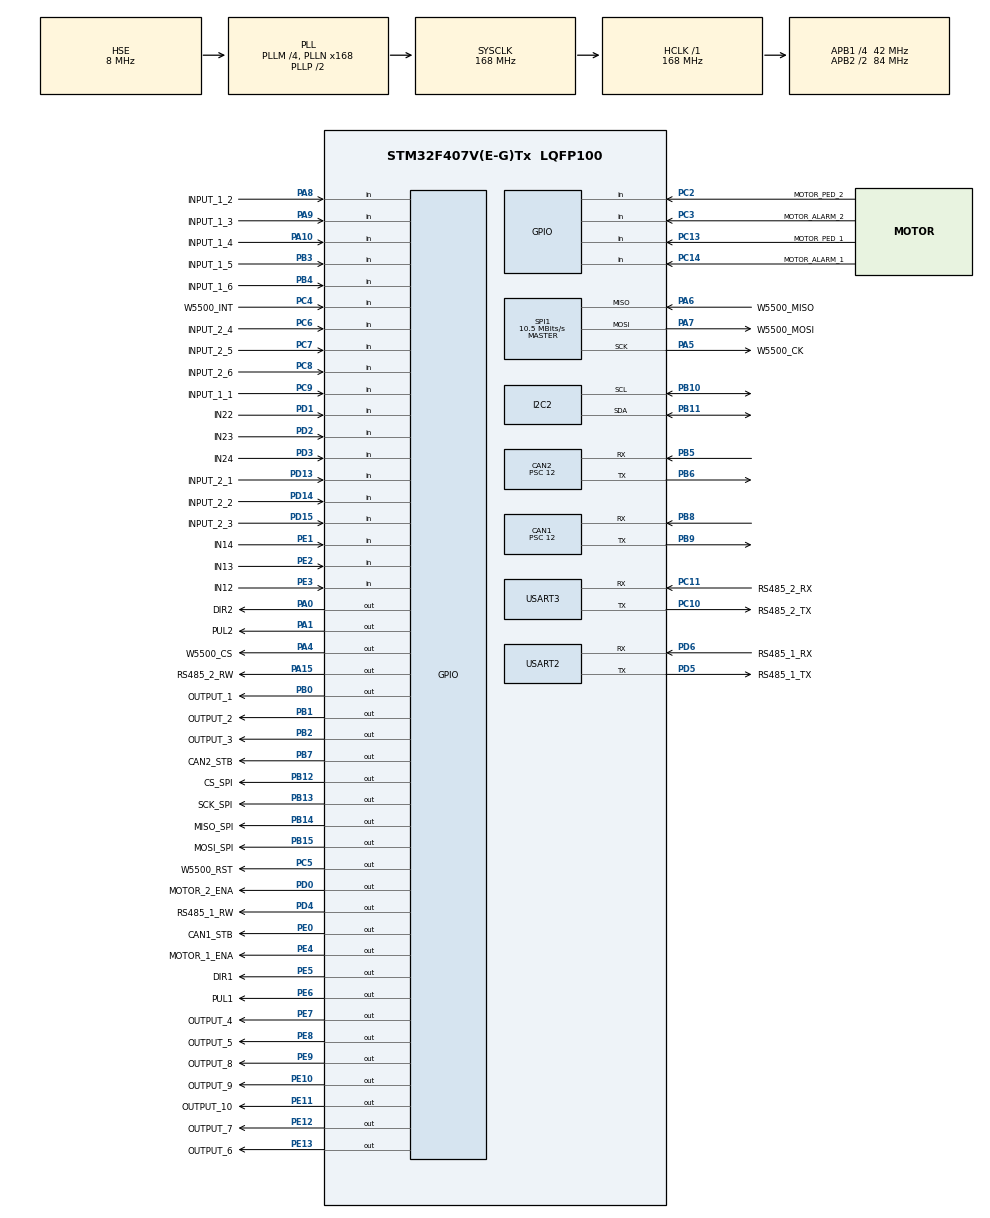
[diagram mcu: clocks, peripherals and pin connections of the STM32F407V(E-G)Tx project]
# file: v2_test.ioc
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CAN1.BS1=CAN_BS1_3TQ
CAN1.BS2=CAN_BS2_3TQ
CAN1.CalculateBaudRate=500000
CAN1.CalculateTimeBit=2000
CAN1.CalculateTimeQuantum=285.7142857142857
CAN1.Mode=CAN_MODE_NORMAL
CAN1.Prescaler=12
CAN2.BS1=CAN_BS1_3TQ
CAN2.BS2=CAN_BS2_3TQ
CAN2.CalculateBaudRate=500000
CAN2.CalculateTimeBit=2000
CAN2.CalculateTimeQuantum=285.7142857142857
CAN2.Mode=CAN_MODE_NORMAL
CAN2.Prescaler=12
Mcu.Family=STM32F4
Mcu.Name=STM32F407V(E-G)Tx
Mcu.Package=LQFP100
NVIC.CAN1_RX0_IRQn=true\:1\:0\:true\:false\:true\:true\:true\:true
NVIC.CAN1_RX1_IRQn=true\:1\:0\:true\:false\:true\:true\:true\:true
NVIC.CAN2_RX0_IRQn=true\:1\:0\:true\:false\:true\:true\:true\:true
NVIC.CAN2_RX1_IRQn=true\:1\:0\:true\:false\:true\:true\:true\:true
NVIC.I2C2_EV_IRQn=true\:1\:0\:true\:false\:true\:true\:true\:true
NVIC.PriorityGroup=NVIC_PRIORITYGROUP_4
NVIC.SPI1_IRQn=true\:1\:0\:true\:false\:true\:true\:true\:true
NVIC.TIM2_IRQn=true\:1\:0\:true\:false\:true\:true\:true\:true
NVIC.TIM4_IRQn=true\:0\:0\:false\:false\:true\:true\:true\:true
NVIC.USART2_IRQn=true\:1\:0\:true\:false\:true\:true\:true\:true
NVIC.USART3_IRQn=true\:1\:0\:true\:false\:true\:true\:true\:true
PA0-WKUP.GPIO_Label=DIR2
PA0-WKUP.Signal=GPIO_Output
PA1.GPIO_Label=PUL2
PA1.Signal=GPIO_Output
PA10.GPIO_Label=INPUT_1_4
PA10.GPIO_PuPd=GPIO_PULLDOWN
PA10.Signal=GPIO_Input
PA13.Mode=Serial_Wire
PA13.Signal=SYS_JTMS-SWDIO
PA14.Mode=Serial_Wire
PA14.Signal=SYS_JTCK-SWCLK
PA15.GPIO_Label=RS485_2_RW
PA15.Signal=GPIO_Output
PA4.GPIO_Label=W5500_CS
PA4.Signal=GPIO_Output
PA5.GPIO_Label=W5500_CK
PA5.Mode=Full_Duplex_Master
PA5.Signal=SPI1_SCK
PA6.GPIO_Label=W5500_MISO
PA6.Mode=Full_Duplex_Master
PA6.Signal=SPI1_MISO
PA7.GPIO_Label=W5500_MOSI
PA7.Mode=Full_Duplex_Master
PA7.Signal=SPI1_MOSI
PA8.GPIO_Label=INPUT_1_2
PA8.GPIO_PuPd=GPIO_PULLDOWN
PA8.Signal=GPIO_Input
PA9.GPIO_Label=INPUT_1_3
PA9.GPIO_PuPd=GPIO_PULLDOWN
PA9.Signal=GPIO_Input
PB0.GPIO_Label=OUTPUT_1
PB0.Signal=GPIO_Output
PB1.GPIO_Label=OUTPUT_2
PB1.Signal=GPIO_Output
PB10.Mode=I2C
PB10.Signal=I2C2_SCL
PB11.Mode=I2C
PB11.Signal=I2C2_SDA
PB12.GPIO_Label=CS_SPI
PB12.Signal=GPIO_Output
PB13.GPIO_Label=SCK_SPI
PB13.Signal=GPIO_Output
PB14.GPIO_Label=MISO_SPI
PB14.Signal=GPIO_Output
PB15.GPIO_Label=MOSI_SPI
PB15.Signal=GPIO_Output
PB2.GPIO_Label=OUTPUT_3
PB2.Signal=GPIO_Output
PB3.GPIO_Label=INPUT_1_5
PB3.GPIO_PuPd=GPIO_PULLDOWN
PB3.Signal=GPIO_Input
PB4.GPIO_Label=INPUT_1_6
PB4.GPIO_PuPd=GPIO_PULLDOWN
PB4.Signal=GPIO_Input
PB5.Mode=CAN_Activate
PB5.Signal=CAN2_RX
PB6.Mode=CAN_Activate
PB6.Signal=CAN2_TX
PB7.GPIO_Label=CAN2_STB
PB7.Signal=GPIO_Output
PB8.Mode=CAN_Activate
PB8.Signal=CAN1_RX
PB9.Mode=CAN_Activate
PB9.Signal=CAN1_TX
PC10.GPIO_Label=RS485_2_TX
PC10.Mode=Asynchronous
PC10.Signal=USART3_TX
PC11.GPIO_Label=RS485_2_RX
PC11.Mode=Asynchronous
PC11.Signal=USART3_RX
PC13-ANTI_TAMP.GPIO_Label=MOTOR_PED_1
PC13-ANTI_TAMP.GPIO_PuPd=GPIO_NOPULL
PC13-ANTI_TAMP.Signal=GPIO_Input
PC14-OSC32_IN.GPIO_Label=MOTOR_ALARM_1
PC14-OSC32_IN.Signal=GPIO_Input
PC2.GPIO_Label=MOTOR_PED_2
PC2.Signal=GPIO_Input
PC3.GPIO_Label=MOTOR_ALARM_2
PC3.Signal=GPIO_Input
PC4.GPIO_Label=W5500_INT
PC4.Signal=GPIO_Input
PC5.GPIO_Label=W5500_RST
PC5.Signal=GPIO_Output
PC6.GPIO_Label=INPUT_2_4
PC6.GPIO_PuPd=GPIO_PULLDOWN
PC6.Signal=GPIO_Input
PC7.GPIO_Label=INPUT_2_5
PC7.GPIO_PuPd=GPIO_PULLDOWN
PC7.Signal=GPIO_Input
PC8.GPIO_Label=INPUT_2_6
PC8.GPIO_PuPd=GPIO_PULLDOWN
PC8.Signal=GPIO_Input
PC9.GPIO_Label=INPUT_1_1
PC9.GPIO_PuPd=GPIO_PULLDOWN
PC9.Signal=GPIO_Input
PD0.GPIO_Label=MOTOR_2_ENA
PD0.GPIO_PuPd=GPIO_PULLDOWN
PD0.PinState=GPIO_PIN_RESET
PD0.Signal=GPIO_Output
PD1.GPIO_Label=IN22
PD1.Signal=GPIO_Input
PD13.GPIO_Label=INPUT_2_1
PD13.GPIO_PuPd=GPIO_PULLDOWN
PD13.Signal=GPIO_Input
PD14.GPIO_Label=INPUT_2_2
PD14.GPIO_PuPd=GPIO_PULLDOWN
PD14.Signal=GPIO_Input
PD15.GPIO_Label=INPUT_2_3
PD15.GPIO_PuPd=GPIO_PULLDOWN
PD15.Signal=GPIO_Input
PD2.GPIO_Label=IN23
PD2.Signal=GPIO_Input
PD3.GPIO_Label=IN24
PD3.Signal=GPIO_Input
PD4.GPIO_Label=RS485_1_RW
PD4.Signal=GPIO_Output
PD5.GPIO_Label=RS485_1_TX
PD5.Mode=Asynchronous
PD5.Signal=USART2_TX
PD6.GPIO_Label=RS485_1_RX
PD6.Mode=Asynchronous
PD6.Signal=USART2_RX
PE0.GPIO_Label=CAN1_STB
PE0.Signal=GPIO_Output
PE1.GPIO_Label=IN14
PE1.Signal=GPIO_Input
PE10.GPIO_Label=OUTPUT_9
PE10.Signal=GPIO_Output
PE11.GPIO_Label=OUTPUT_10
PE11.Signal=GPIO_Output
PE12.GPIO_Label=OUTPUT_7
PE12.Signal=GPIO_Output
PE13.GPIO_Label=OUTPUT_6
PE13.Signal=GPIO_Output
PE2.GPIO_Label=IN13
PE2.Signal=GPIO_Input
PE3.GPIO_Label=IN12
PE3.Signal=GPIO_Input
PE4.GPIO_Label=MOTOR_1_ENA
PE4.GPIO_PuPd=GPIO_PULLDOWN
PE4.PinState=GPIO_PIN_RESET
PE4.Signal=GPIO_Output
PE5.GPIO_Label=DIR1
PE5.Signal=GPIO_Output
PE6.GPIO_Label=PUL1
PE6.Signal=GPIO_Output
PE7.GPIO_Label=OUTPUT_4
PE7.Signal=GPIO_Output
PE8.GPIO_Label=OUTPUT_5
PE8.Signal=GPIO_Output
PE9.GPIO_Label=OUTPUT_8
PE9.Signal=GPIO_Output
PH0-OSC_IN.Mode=HSE-External-Oscillator
PH0-OSC_IN.Signal=RCC_OSC_IN
PH1-OSC_OUT.Mode=HSE-External-Oscillator
PH1-OSC_OUT.Signal=RCC_OSC_OUT
ProjectManager.HeapSize=0x200
ProjectManager.StackSize=0x400
ProjectManager.TargetToolchain=MDK-ARM V5.32
RCC.48MHZClocksFreq_Value=48000000
RCC.AHBFreq_Value=168000000
RCC.APB1CLKDivider=RCC_HCLK_DIV4
RCC.APB1Freq_Value=42000000
RCC.APB1TimFreq_Value=84000000
RCC.APB2CLKDivider=RCC_HCLK_DIV2
RCC.APB2Freq_Value=84000000
RCC.APB2TimFreq_Value=168000000
RCC.CortexFreq_Value=168000000
RCC.HCLKFreq_Value=168000000
RCC.HSE_VALUE=8000000
RCC.HSI_VALUE=16000000
RCC.LSE_VALUE=32768
RCC.PLLM=4
RCC.PLLN=168
RCC.PLLQ=7
RCC.PLLSourceVirtual=RCC_PLLSOURCE_HSE
RCC.SYSCLKFreq_VALUE=168000000
RCC.SYSCLKSource=RCC_SYSCLKSOURCE_PLLCLK
RCC.VCOOutputFreq_Value=336000000
SPI1.BaudRatePrescaler=SPI_BAUDRATEPRESCALER_8
SPI1.CalculateBaudRate=10.5 MBits/s
SPI1.Direction=SPI_DIRECTION_2LINES
SPI1.Mode=SPI_MODE_MASTER
SPI1.VirtualType=VM_MASTER
TIM2.Period=1000-1
TIM2.Prescaler=168-1
TIM3.Prescaler=168-1
TIM4.Period=10-1
TIM4.Prescaler=168-1
USART2.VirtualMode=VM_ASYNC
USART3.VirtualMode=VM_ASYNC
VP_TIM2_VS_ClockSourceINT.Mode=Internal
VP_TIM3_VS_ClockSourceINT.Mode=Internal
VP_TIM4_VS_ClockSourceINT.Mode=Internal
board=custom

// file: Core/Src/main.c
/* USER CODE BEGIN Header */
/**
  ******************************************************************************
  * @file           : main.c
  * @brief          : Main program body
  ******************************************************************************
  * @attention
  *
  * Copyright (c) 2025 STMicroelectronics.
  * All rights reserved.
  *
  * This software is licensed under terms that can be found in the LICENSE file
  * in the root directory of this software component.
  * If no LICENSE file comes with this software, it is provided AS-IS.
  *
  ******************************************************************************
  */
/* USER CODE END Header */
#include "main.h"

/* USER CODE BEGIN Includes */
#include <string.h>
#include <stdarg.h>
#include <stdbool.h>
#include <ctype.h>
#include <stdio.h>

#include "uart.h"
#include "timer.h"
#include "socket.h"
#include "w5500.h"
#include "wizchip_conf.h"
#include "can.h"
#include "user.h"
#include "io.h"
#include "Stepper.h"
#include "motion_control.h"
/* USER CODE END Includes */

CAN_HandleTypeDef hcan1;
CAN_HandleTypeDef hcan2;

I2C_HandleTypeDef hi2c2;

SPI_HandleTypeDef hspi1;

TIM_HandleTypeDef htim2;
TIM_HandleTypeDef htim3;
TIM_HandleTypeDef htim4;

UART_HandleTypeDef huart2;
UART_HandleTypeDef huart3;

/* USER CODE BEGIN PV */
#define MAXIMUM_BYTE_RECEIVED 24
#define MAXIMUM_BYTE_SENT 8

Stepper Left; //id = 0
Stepper Right; //id = 1

Robot RobotVar;
/* USER CODE END PV */

void SystemClock_Config(void);
static void MX_GPIO_Init(void);
static void MX_CAN1_Init(void);
static void MX_CAN2_Init(void);
static void MX_USART2_UART_Init(void);
static void MX_USART3_UART_Init(void);
static void MX_I2C2_Init(void);
static void MX_TIM2_Init(void);
static void MX_TIM3_Init(void);
static void MX_SPI1_Init(void);
static void MX_TIM4_Init(void);

/* USER CODE BEGIN 0 */
  //**************Initialize parameters'buffer *****************************//
uint8_t uReceive_data[MAXIMUM_BYTE_RECEIVED];
uint8_t uTransmit_data[MAXIMUM_BYTE_SENT];

int time_start =0;
int time_end =0;
int time_process =0;
uint32_t cnt_overflow = 0;
int8_t flag_not_receive = 0;
int sock_stat = 0;
uint32_t last_data_tick = 0;
int flag_ethernet_error = 0;
int flag_task = 0;

  //**************Initialize CAN *****************************//
CAN_TxHeaderTypeDef TxHeader1;
CAN_RxHeaderTypeDef RxHeader1;
uint32_t TxMailbox1[3] = {0};
uint8_t TxData1[8] = {0};
uint8_t RxData1[8] = {0};

CAN_TxHeaderTypeDef TxHeader2;
CAN_RxHeaderTypeDef RxHeader2;
uint32_t TxMailbox2[3] = {0};
uint8_t TxData2[8] = {0};
uint8_t RxData2[8] = {0};

uint8_t can_test[8] = {0};
uint8_t one_unit = 0;
int on = 0;

CAN_FilterTypeDef canFilterConfig1;
CAN_FilterTypeDef canFilterConfig2;

extern uint8_t alarm_flag;
extern uint8_t feedback_flag;

extern float accel_set;
extern float decel_set;

extern float linear;
extern float angular;
float right_RadpSec = 0.0;
float left_RadpSec = 0.0;

/* USER CODE END 0 */

int main(void)
{

  /* MCU Configuration--------------------------------------------------------*/

  /* Reset of all peripherals, Initializes the Flash interface and the Systick. */
  HAL_Init();

  /* Configure the system clock */
  SystemClock_Config();

  /* Initialize all configured peripherals */
  MX_GPIO_Init();
  MX_CAN1_Init();
  MX_CAN2_Init();
  MX_USART2_UART_Init();
  MX_USART3_UART_Init();
  MX_I2C2_Init();
  MX_TIM2_Init();
  MX_TIM3_Init();
  MX_SPI1_Init();
  MX_TIM4_Init();
  /* USER CODE BEGIN 2 */
//**************Start Timer *****************************//
	HAL_TIM_Base_Start_IT(&htim2);
	HAL_TIM_Base_Start(&htim3);
	HAL_TIM_Base_Start_IT(&htim4);
	//********************Parameter Initialization*******************************//
	Motion_Stop();
	HAL_Delay(1000);
	Motion_Start();
	//////Initialize parameters of the robot
  RobotVar.QR_Distance = 0.6;
	Robot_Init(&RobotVar, 0.055, 0.225, 0.45, 4000, RobotVar.QR_Distance);//robot init     //**// NEED TO CONFIG //**//

////Initialize parameters of the stepper motors
//	Stepper_Init(&Left,1.8, 0, mPOSITION, 5, 0);// lift motor init      //**// NEED TO CONFIG //**//
//	Stepper_Init(&Right,1.8, 0, mPOSITION, 5, 1);//rotation motor init //**// NEED TO CONFIG //**//

	Stepper_Init(&Left,1.8, 0, mSPEED, 5, 1);// lift motor init      //**// NEED TO CONFIG //**//
	Stepper_Init(&Right,1.8, 0, mSPEED, 5, 0);//rotation motor init //**// NEED TO CONFIG //**//

//**************Start CAN *****************************//
	//Enable IC CAN //
	CAN_IC_Enable(&hcan1);
	CAN_IC_Enable(&hcan2);
	CAN_Init(&hcan1, &TxHeader1,0x103, 8, &canFilterConfig1,10, 15, 0x000, 0x000);
	CAN_Init(&hcan2, &TxHeader2,0x104, 8, &canFilterConfig2,15, 15, 0x000, 0x000);
	HAL_CAN_Start(&hcan1);
	HAL_CAN_Start(&hcan2);
  /* USER CODE END 2 */

  /* Infinite loop */
  /* USER CODE BEGIN WHILE */
	RS485_2_Printf("Hello\r\n");
	HAL_Delay(1000);
	W5500_Reset();
	W5500_Init_StaticIP();
	TCP_Server_Init();
  Output_enable();

	/* test */
//	Rotate_Motor(&Right, 5, 5, 3);
//	Rotate_Motor(&Left, 5, 5, 3);
//	HAL_Delay(2000);
//	Stepper_Stop(&Right);
//	Stepper_Stop(&Left);

  while (1)
  {
    /* USER CODE END WHILE */

    /* USER CODE BEGIN 3 */

		/* TCP LISTEN */
		TCP_Server_Poll();
		Ethernet_Error(2000);
		if(flag_ethernet_error == 1){
				Stepper_Stop(&Right);
				Stepper_Stop(&Left);
		}
		/* TCP LISTEN */

		/* WHEEL CONTROL */
		if(flag_task == 1 && alarm_flag == 0 && flag_ethernet_error == 0)
		{
			right_RadpSec = (linear + angular * RobotVar.Robot_Radius) / RobotVar.Wheel_Radius;
			left_RadpSec = (linear - angular * RobotVar.Robot_Radius) / RobotVar.Wheel_Radius;

			Motor_Move(&Right, right_RadpSec);
			Motor_Move(&Left, left_RadpSec);

			flag_task = 0;
		}
		/* WHEEL CONTROL */

		/* SEND DISTANT FEEDBACK */
		if(feedback_flag == 1) {
			int s_left_x1000 = DistantFeedback(&RobotVar, &Left);
			int s_right_x1000 = DistantFeedback(&RobotVar, &Right);

			char buf[20];
			sprintf(buf, "DIS %d %d\r\n", s_left_x1000, s_right_x1000);
			send(TCP_SOCKET, (uint8_t*)buf, strlen(buf));

			feedback_flag = 0;
		}
		/* SEND DISTANT FEEDBACK */

	}
  /* USER CODE END 3 */
}

void SystemClock_Config(void)
{
  RCC_OscInitTypeDef RCC_OscInitStruct = {0};
  RCC_ClkInitTypeDef RCC_ClkInitStruct = {0};

  /** Configure the main internal regulator output voltage
  */
  __HAL_RCC_PWR_CLK_ENABLE();
  __HAL_PWR_VOLTAGESCALING_CONFIG(PWR_REGULATOR_VOLTAGE_SCALE1);

  /** Initializes the RCC Oscillators according to the specified parameters
  * in the RCC_OscInitTypeDef structure.
  */
  RCC_OscInitStruct.OscillatorType = RCC_OSCILLATORTYPE_HSE;
  RCC_OscInitStruct.HSEState = RCC_HSE_ON;
  RCC_OscInitStruct.PLL.PLLState = RCC_PLL_ON;
  RCC_OscInitStruct.PLL.PLLSource = RCC_PLLSOURCE_HSE;
  RCC_OscInitStruct.PLL.PLLM = 4;
  RCC_OscInitStruct.PLL.PLLN = 168;
  RCC_OscInitStruct.PLL.PLLP = RCC_PLLP_DIV2;
  RCC_OscInitStruct.PLL.PLLQ = 7;
  if (HAL_RCC_OscConfig(&RCC_OscInitStruct) != HAL_OK)
  {
    Error_Handler();
  }

  /** Initializes the CPU, AHB and APB buses clocks
  */
  RCC_ClkInitStruct.ClockType = RCC_CLOCKTYPE_HCLK|RCC_CLOCKTYPE_SYSCLK
                              |RCC_CLOCKTYPE_PCLK1|RCC_CLOCKTYPE_PCLK2;
  RCC_ClkInitStruct.SYSCLKSource = RCC_SYSCLKSOURCE_PLLCLK;
  RCC_ClkInitStruct.AHBCLKDivider = RCC_SYSCLK_DIV1;
  RCC_ClkInitStruct.APB1CLKDivider = RCC_HCLK_DIV4;
  RCC_ClkInitStruct.APB2CLKDivider = RCC_HCLK_DIV2;

  if (HAL_RCC_ClockConfig(&RCC_ClkInitStruct, FLASH_LATENCY_5) != HAL_OK)
  {
    Error_Handler();
  }
}

static void MX_CAN1_Init(void)
{

  hcan1.Instance = CAN1;
  hcan1.Init.Prescaler = 12;
  hcan1.Init.Mode = CAN_MODE_NORMAL;
  hcan1.Init.SyncJumpWidth = CAN_SJW_1TQ;
  hcan1.Init.TimeSeg1 = CAN_BS1_3TQ;
  hcan1.Init.TimeSeg2 = CAN_BS2_3TQ;
  hcan1.Init.TimeTriggeredMode = DISABLE;
  hcan1.Init.AutoBusOff = DISABLE;
  hcan1.Init.AutoWakeUp = DISABLE;
  hcan1.Init.AutoRetransmission = DISABLE;
  hcan1.Init.ReceiveFifoLocked = DISABLE;
  hcan1.Init.TransmitFifoPriority = DISABLE;
  if (HAL_CAN_Init(&hcan1) != HAL_OK)
  {
    Error_Handler();
  }

}

static void MX_CAN2_Init(void)
{

  hcan2.Instance = CAN2;
  hcan2.Init.Prescaler = 12;
  hcan2.Init.Mode = CAN_MODE_NORMAL;
  hcan2.Init.SyncJumpWidth = CAN_SJW_1TQ;
  hcan2.Init.TimeSeg1 = CAN_BS1_3TQ;
  hcan2.Init.TimeSeg2 = CAN_BS2_3TQ;
  hcan2.Init.TimeTriggeredMode = DISABLE;
  hcan2.Init.AutoBusOff = DISABLE;
  hcan2.Init.AutoWakeUp = DISABLE;
  hcan2.Init.AutoRetransmission = DISABLE;
  hcan2.Init.ReceiveFifoLocked = DISABLE;
  hcan2.Init.TransmitFifoPriority = DISABLE;
  if (HAL_CAN_Init(&hcan2) != HAL_OK)
  {
    Error_Handler();
  }

}

static void MX_I2C2_Init(void)
{

  hi2c2.Instance = I2C2;
  hi2c2.Init.ClockSpeed = 100000;
  hi2c2.Init.DutyCycle = I2C_DUTYCYCLE_2;
  hi2c2.Init.OwnAddress1 = 0;
  hi2c2.Init.AddressingMode = I2C_ADDRESSINGMODE_7BIT;
  hi2c2.Init.DualAddressMode = I2C_DUALADDRESS_DISABLE;
  hi2c2.Init.OwnAddress2 = 0;
  hi2c2.Init.GeneralCallMode = I2C_GENERALCALL_DISABLE;
  hi2c2.Init.NoStretchMode = I2C_NOSTRETCH_DISABLE;
  if (HAL_I2C_Init(&hi2c2) != HAL_OK)
  {
    Error_Handler();
  }

}

static void MX_SPI1_Init(void)
{

  /* SPI1 parameter configuration*/
  hspi1.Instance = SPI1;
  hspi1.Init.Mode = SPI_MODE_MASTER;
  hspi1.Init.Direction = SPI_DIRECTION_2LINES;
  hspi1.Init.DataSize = SPI_DATASIZE_8BIT;
  hspi1.Init.CLKPolarity = SPI_POLARITY_LOW;
  hspi1.Init.CLKPhase = SPI_PHASE_1EDGE;
  hspi1.Init.NSS = SPI_NSS_SOFT;
  hspi1.Init.BaudRatePrescaler = SPI_BAUDRATEPRESCALER_8;
  hspi1.Init.FirstBit = SPI_FIRSTBIT_MSB;
  hspi1.Init.TIMode = SPI_TIMODE_DISABLE;
  hspi1.Init.CRCCalculation = SPI_CRCCALCULATION_DISABLE;
  hspi1.Init.CRCPolynomial = 10;
  if (HAL_SPI_Init(&hspi1) != HAL_OK)
  {
    Error_Handler();
  }

}

static void MX_TIM2_Init(void)
{

  TIM_ClockConfigTypeDef sClockSourceConfig = {0};
  TIM_MasterConfigTypeDef sMasterConfig = {0};

  htim2.Instance = TIM2;
  htim2.Init.Prescaler = 168-1;
  htim2.Init.CounterMode = TIM_COUNTERMODE_UP;
  htim2.Init.Period = 1000-1;
  htim2.Init.ClockDivision = TIM_CLOCKDIVISION_DIV1;
  htim2.Init.AutoReloadPreload = TIM_AUTORELOAD_PRELOAD_DISABLE;
  if (HAL_TIM_Base_Init(&htim2) != HAL_OK)
  {
    Error_Handler();
  }
  sClockSourceConfig.ClockSource = TIM_CLOCKSOURCE_INTERNAL;
  if (HAL_TIM_ConfigClockSource(&htim2, &sClockSourceConfig) != HAL_OK)
  {
    Error_Handler();
  }
  sMasterConfig.MasterOutputTrigger = TIM_TRGO_RESET;
  sMasterConfig.MasterSlaveMode = TIM_MASTERSLAVEMODE_DISABLE;
  if (HAL_TIMEx_MasterConfigSynchronization(&htim2, &sMasterConfig) != HAL_OK)
  {
    Error_Handler();
  }

}

static void MX_TIM3_Init(void)
{

  TIM_ClockConfigTypeDef sClockSourceConfig = {0};
  TIM_MasterConfigTypeDef sMasterConfig = {0};

  htim3.Instance = TIM3;
  htim3.Init.Prescaler = 168-1;
  htim3.Init.CounterMode = TIM_COUNTERMODE_UP;
  htim3.Init.Period = 65535;
  htim3.Init.ClockDivision = TIM_CLOCKDIVISION_DIV1;
  htim3.Init.AutoReloadPreload = TIM_AUTORELOAD_PRELOAD_DISABLE;
  if (HAL_TIM_Base_Init(&htim3) != HAL_OK)
  {
    Error_Handler();
  }
  sClockSourceConfig.ClockSource = TIM_CLOCKSOURCE_INTERNAL;
  if (HAL_TIM_ConfigClockSource(&htim3, &sClockSourceConfig) != HAL_OK)
  {
    Error_Handler();
  }
  sMasterConfig.MasterOutputTrigger = TIM_TRGO_RESET;
  sMasterConfig.MasterSlaveMode = TIM_MASTERSLAVEMODE_DISABLE;
  if (HAL_TIMEx_MasterConfigSynchronization(&htim3, &sMasterConfig) != HAL_OK)
  {
    Error_Handler();
  }

}

static void MX_TIM4_Init(void)
{

  TIM_ClockConfigTypeDef sClockSourceConfig = {0};
  TIM_MasterConfigTypeDef sMasterConfig = {0};

  htim4.Instance = TIM4;
  htim4.Init.Prescaler = 168-1;
  htim4.Init.CounterMode = TIM_COUNTERMODE_UP;
  htim4.Init.Period = 10-1;
  htim4.Init.ClockDivision = TIM_CLOCKDIVISION_DIV1;
  htim4.Init.AutoReloadPreload = TIM_AUTORELOAD_PRELOAD_DISABLE;
  if (HAL_TIM_Base_Init(&htim4) != HAL_OK)
  {
    Error_Handler();
  }
  sClockSourceConfig.ClockSource = TIM_CLOCKSOURCE_INTERNAL;
  if (HAL_TIM_ConfigClockSource(&htim4, &sClockSourceConfig) != HAL_OK)
  {
    Error_Handler();
  }
  sMasterConfig.MasterOutputTrigger = TIM_TRGO_RESET;
  sMasterConfig.MasterSlaveMode = TIM_MASTERSLAVEMODE_DISABLE;
  if (HAL_TIMEx_MasterConfigSynchronization(&htim4, &sMasterConfig) != HAL_OK)
  {
    Error_Handler();
  }

}

static void MX_USART2_UART_Init(void)
{

  huart2.Instance = USART2;
  huart2.Init.BaudRate = 115200;
  huart2.Init.WordLength = UART_WORDLENGTH_8B;
  huart2.Init.StopBits = UART_STOPBITS_1;
  huart2.Init.Parity = UART_PARITY_NONE;
  huart2.Init.Mode = UART_MODE_TX_RX;
  huart2.Init.HwFlowCtl = UART_HWCONTROL_NONE;
  huart2.Init.OverSampling = UART_OVERSAMPLING_16;
  if (HAL_UART_Init(&huart2) != HAL_OK)
  {
    Error_Handler();
  }

}

static void MX_USART3_UART_Init(void)
{

  huart3.Instance = USART3;
  huart3.Init.BaudRate = 115200;
  huart3.Init.WordLength = UART_WORDLENGTH_8B;
  huart3.Init.StopBits = UART_STOPBITS_1;
  huart3.Init.Parity = UART_PARITY_NONE;
  huart3.Init.Mode = UART_MODE_TX_RX;
  huart3.Init.HwFlowCtl = UART_HWCONTROL_NONE;
  huart3.Init.OverSampling = UART_OVERSAMPLING_16;
  if (HAL_UART_Init(&huart3) != HAL_OK)
  {
    Error_Handler();
  }

}

static void MX_GPIO_Init(void)
{
  GPIO_InitTypeDef GPIO_InitStruct = {0};

  /* GPIO Ports Clock Enable */
  __HAL_RCC_GPIOE_CLK_ENABLE();
  __HAL_RCC_GPIOC_CLK_ENABLE();
  __HAL_RCC_GPIOH_CLK_ENABLE();
  __HAL_RCC_GPIOA_CLK_ENABLE();
  __HAL_RCC_GPIOB_CLK_ENABLE();
  __HAL_RCC_GPIOD_CLK_ENABLE();

  /*Configure GPIO pin Output Level */
  HAL_GPIO_WritePin(GPIOE, MOTOR_1_ENA_Pin|DIR1_Pin|PUL1_Pin|OUTPUT_4_Pin
                          |OUTPUT_5_Pin|OUTPUT_8_Pin|OUTPUT_9_Pin|OUTPUT_10_Pin
                          |OUTPUT_7_Pin|OUTPUT_6_Pin|CAN1_STB_Pin, GPIO_PIN_RESET);

  /*Configure GPIO pin Output Level */
  HAL_GPIO_WritePin(GPIOA, DIR2_Pin|PUL2_Pin|W5500_CS_Pin|RS485_2_RW_Pin, GPIO_PIN_RESET);

  /*Configure GPIO pin Output Level */
  HAL_GPIO_WritePin(W5500_RST_GPIO_Port, W5500_RST_Pin, GPIO_PIN_RESET);

  /*Configure GPIO pin Output Level */
  HAL_GPIO_WritePin(GPIOB, OUTPUT_1_Pin|OUTPUT_2_Pin|OUTPUT_3_Pin|CS_SPI_Pin
                          |SCK_SPI_Pin|MISO_SPI_Pin|MOSI_SPI_Pin|CAN2_STB_Pin, GPIO_PIN_RESET);

  /*Configure GPIO pin Output Level */
  HAL_GPIO_WritePin(GPIOD, MOTOR_2_ENA_Pin|RS485_1_RW_Pin, GPIO_PIN_RESET);

  /*Configure GPIO pins : IN13_Pin IN12_Pin IN14_Pin */
  GPIO_InitStruct.Pin = IN13_Pin|IN12_Pin|IN14_Pin;
  GPIO_InitStruct.Mode = GPIO_MODE_INPUT;
  GPIO_InitStruct.Pull = GPIO_NOPULL;
  HAL_GPIO_Init(GPIOE, &GPIO_InitStruct);

  /*Configure GPIO pin : MOTOR_1_ENA_Pin */
  GPIO_InitStruct.Pin = MOTOR_1_ENA_Pin;
  GPIO_InitStruct.Mode = GPIO_MODE_OUTPUT_PP;
  GPIO_InitStruct.Pull = GPIO_PULLDOWN;
  GPIO_InitStruct.Speed = GPIO_SPEED_FREQ_LOW;
  HAL_GPIO_Init(MOTOR_1_ENA_GPIO_Port, &GPIO_InitStruct);

  /*Configure GPIO pins : DIR1_Pin PUL1_Pin OUTPUT_4_Pin OUTPUT_5_Pin
                           OUTPUT_8_Pin OUTPUT_9_Pin OUTPUT_10_Pin OUTPUT_7_Pin
                           OUTPUT_6_Pin CAN1_STB_Pin */
  GPIO_InitStruct.Pin = DIR1_Pin|PUL1_Pin|OUTPUT_4_Pin|OUTPUT_5_Pin
                          |OUTPUT_8_Pin|OUTPUT_9_Pin|OUTPUT_10_Pin|OUTPUT_7_Pin
                          |OUTPUT_6_Pin|CAN1_STB_Pin;
  GPIO_InitStruct.Mode = GPIO_MODE_OUTPUT_PP;
  GPIO_InitStruct.Pull = GPIO_NOPULL;
  GPIO_InitStruct.Speed = GPIO_SPEED_FREQ_LOW;
  HAL_GPIO_Init(GPIOE, &GPIO_InitStruct);

  /*Configure GPIO pins : MOTOR_PED_1_Pin MOTOR_ALARM_1_Pin MOTOR_PED_2_Pin MOTOR_ALARM_2_Pin
                           W5500_INT_Pin */
  GPIO_InitStruct.Pin = MOTOR_PED_1_Pin|MOTOR_ALARM_1_Pin|MOTOR_PED_2_Pin|MOTOR_ALARM_2_Pin
                          |W5500_INT_Pin;
  GPIO_InitStruct.Mode = GPIO_MODE_INPUT;
  GPIO_InitStruct.Pull = GPIO_NOPULL;
  HAL_GPIO_Init(GPIOC, &GPIO_InitStruct);

  /*Configure GPIO pins : DIR2_Pin PUL2_Pin W5500_CS_Pin RS485_2_RW_Pin */
  GPIO_InitStruct.Pin = DIR2_Pin|PUL2_Pin|W5500_CS_Pin|RS485_2_RW_Pin;
  GPIO_InitStruct.Mode = GPIO_MODE_OUTPUT_PP;
  GPIO_InitStruct.Pull = GPIO_NOPULL;
  GPIO_InitStruct.Speed = GPIO_SPEED_FREQ_LOW;
  HAL_GPIO_Init(GPIOA, &GPIO_InitStruct);

  /*Configure GPIO pin : W5500_RST_Pin */
  GPIO_InitStruct.Pin = W5500_RST_Pin;
  GPIO_InitStruct.Mode = GPIO_MODE_OUTPUT_PP;
  GPIO_InitStruct.Pull = GPIO_NOPULL;
  GPIO_InitStruct.Speed = GPIO_SPEED_FREQ_LOW;
  HAL_GPIO_Init(W5500_RST_GPIO_Port, &GPIO_InitStruct);

  /*Configure GPIO pins : OUTPUT_1_Pin OUTPUT_2_Pin OUTPUT_3_Pin CS_SPI_Pin
                           SCK_SPI_Pin MISO_SPI_Pin MOSI_SPI_Pin CAN2_STB_Pin */
  GPIO_InitStruct.Pin = OUTPUT_1_Pin|OUTPUT_2_Pin|OUTPUT_3_Pin|CS_SPI_Pin
                          |SCK_SPI_Pin|MISO_SPI_Pin|MOSI_SPI_Pin|CAN2_STB_Pin;
  GPIO_InitStruct.Mode = GPIO_MODE_OUTPUT_PP;
  GPIO_InitStruct.Pull = GPIO_NOPULL;
  GPIO_InitStruct.Speed = GPIO_SPEED_FREQ_LOW;
  HAL_GPIO_Init(GPIOB, &GPIO_InitStruct);

  /*Configure GPIO pins : INPUT_2_1_Pin INPUT_2_2_Pin INPUT_2_3_Pin */
  GPIO_InitStruct.Pin = INPUT_2_1_Pin|INPUT_2_2_Pin|INPUT_2_3_Pin;
  GPIO_InitStruct.Mode = GPIO_MODE_INPUT;
  GPIO_InitStruct.Pull = GPIO_PULLDOWN;
  HAL_GPIO_Init(GPIOD, &GPIO_InitStruct);

  /*Configure GPIO pins : INPUT_2_4_Pin INPUT_2_5_Pin INPUT_2_6_Pin INPUT_1_1_Pin */
  GPIO_InitStruct.Pin = INPUT_2_4_Pin|INPUT_2_5_Pin|INPUT_2_6_Pin|INPUT_1_1_Pin;
  GPIO_InitStruct.Mode = GPIO_MODE_INPUT;
  GPIO_InitStruct.Pull = GPIO_PULLDOWN;
  HAL_GPIO_Init(GPIOC, &GPIO_InitStruct);

  /*Configure GPIO pins : INPUT_1_2_Pin INPUT_1_3_Pin INPUT_1_4_Pin */
  GPIO_InitStruct.Pin = INPUT_1_2_Pin|INPUT_1_3_Pin|INPUT_1_4_Pin;
  GPIO_InitStruct.Mode = GPIO_MODE_INPUT;
  GPIO_InitStruct.Pull = GPIO_PULLDOWN;
  HAL_GPIO_Init(GPIOA, &GPIO_InitStruct);

  /*Configure GPIO pin : MOTOR_2_ENA_Pin */
  GPIO_InitStruct.Pin = MOTOR_2_ENA_Pin;
  GPIO_InitStruct.Mode = GPIO_MODE_OUTPUT_PP;
  GPIO_InitStruct.Pull = GPIO_PULLDOWN;
  GPIO_InitStruct.Speed = GPIO_SPEED_FREQ_LOW;
  HAL_GPIO_Init(MOTOR_2_ENA_GPIO_Port, &GPIO_InitStruct);

  /*Configure GPIO pins : IN22_Pin IN23_Pin IN24_Pin */
  GPIO_InitStruct.Pin = IN22_Pin|IN23_Pin|IN24_Pin;
  GPIO_InitStruct.Mode = GPIO_MODE_INPUT;
  GPIO_InitStruct.Pull = GPIO_NOPULL;
  HAL_GPIO_Init(GPIOD, &GPIO_InitStruct);

  /*Configure GPIO pin : RS485_1_RW_Pin */
  GPIO_InitStruct.Pin = RS485_1_RW_Pin;
  GPIO_InitStruct.Mode = GPIO_MODE_OUTPUT_PP;
  GPIO_InitStruct.Pull = GPIO_NOPULL;
  GPIO_InitStruct.Speed = GPIO_SPEED_FREQ_LOW;
  HAL_GPIO_Init(RS485_1_RW_GPIO_Port, &GPIO_InitStruct);

  /*Configure GPIO pins : INPUT_1_5_Pin INPUT_1_6_Pin */
  GPIO_InitStruct.Pin = INPUT_1_5_Pin|INPUT_1_6_Pin;
  GPIO_InitStruct.Mode = GPIO_MODE_INPUT;
  GPIO_InitStruct.Pull = GPIO_PULLDOWN;
  HAL_GPIO_Init(GPIOB, &GPIO_InitStruct);

}

void Error_Handler(void)
{
  __disable_irq();
  while (1)
  {
  }
}
